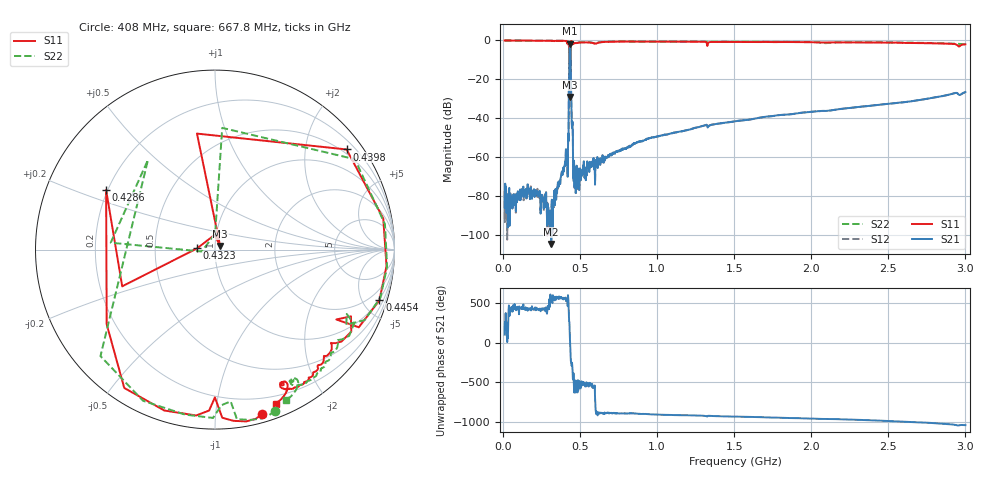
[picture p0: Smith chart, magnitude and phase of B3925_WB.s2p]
! Matrix data file written by TouchstoneData, EPCOS AG
! FILENAME: "B3925_WB.s2p"
! COMMENT: "NWA-Port1 : 98.0ps NWA-Port2 : 98.0ps PCB2031"
! INFO: nport=2, nfreq=1601
! DATE: "Fri Jan 11 2013"
! USER: "Hiroshi Tanaka"
! port | pin | signal
!  1  |  2  |  in
!  2  |  5  |  out
# MHZ S MA R 50
! freq  magS11 angS11  magS21 angS21  magS12 angS12  magS22 angS22
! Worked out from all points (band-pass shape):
!   1601 points, 10 MHz to 3 GHz, reference 50 ohm
!   highest |S21| = -1.64 dB at 434.2 MHz (marker M1); lowest = -104.6 dB at 312.7 MHz (marker M2)
!   |S21| within 3 dB of the highest: 431.4 MHz to 437.3 MHz (5.824 MHz wide, 1.34 % of centre)
!   lowest |S11| = -29.0 dB at 436.1 MHz (marker M3), VSWR 1.07, Z = 52.9 + j2.22 ohm
!   |S11| at or under -10 dB: 431.1 MHz to 437.5 MHz (6.394 MHz wide, 1.47 % of centre)
!   |S22| runs from -22.5 to 0.0 dB; largest |S21 - S12| = 0.0014
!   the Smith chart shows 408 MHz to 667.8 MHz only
!   S11 on the Smith chart (normalised r, x): 408 MHz: 0.06, -1.32; 428.6 MHz: 0.19, +0.25; 432.3 MHz: 0.82, +0.01; 439.8 MHz: 0.40, +2.92; 445.4 MHz: 0.93, -6.50; 667.8 MHz: 0.13, -1.46
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10  0.9971 -2.4  9.57e-05 99.9  0.0001348 134.9  0.9985 -2.1
170.7125  0.9888 -23.5  0.0001493 55.3  0.0001448 58.3  0.9928 -21.9
312.7375  0.98 -44.5  5.859e-06 -167.3  5.123e-06 -103.1  0.9872 -41.5
357.5875  0.9763 -53.0  0.0002308 -157.8  0.000226 -158.6  0.9847 -49.4
408.0437  0.9545 -74.1  0.001612 164.4  0.00162 163.6  0.9578 -69.5
413.65  0.9598 -83.8  0.001081 -173.6  0.001077 -173.6  0.9689 -78.3
422.9937  0.9399 -107.5  0.003972 -165.4  0.003968 -165.1  0.9345 -100.3
428.6  0.6917 151.3  0.04753 -94.3  0.04744 -94.3  0.6242 126.7
432.3375  0.1002 176.1  0.7954 124.7  0.794 124.7  0.075 -172.0
434.2063  0.08172 91.8  0.8277 33.2  0.8265 33.3  0.08152 92.7
436.075  0.03543 36.2  0.799 -55.5  0.7979 -55.5  0.07758 90.0
439.8125  0.9214 37.3  0.1305 131.5  0.1304 131.5  0.9277 32.9
445.4187  0.9586 -17.1  0.008937 65.4  0.008939 65.3  0.9596 -16.2
458.5  0.8319 -38.8  0.0002382 -133.8  0.0002387 -133.4  0.8494 -36.4
469.7125  0.8529 -44.2  0.0003326 166.6  0.0003308 166.1  0.8703 -41.2
508.9563  0.8877 -53.4  0.000396 -127.6  0.0003816 -126.7  0.8973 -49.7
667.8  0.9222 -68.5  0.000961 -167.8  0.0009513 -168.3  0.9274 -64.7
1007.913  0.9328 -97.6  0.003478 171.9  0.003464 171.8  0.9425 -92.8
1505  0.9107 -126.0  0.008335 146.5  0.008322 146.4  0.9304 -121.5
2003.956  0.899 -151.4  0.01469 121.4  0.01466 121.4  0.911 -147.0
2502.912  0.879 -177.9  0.02355 91.1  0.02347 91.0  0.8902 -172.8
3000  0.7949 151.0  0.0472 38.4  0.04708 38.2  0.8016 153.2
